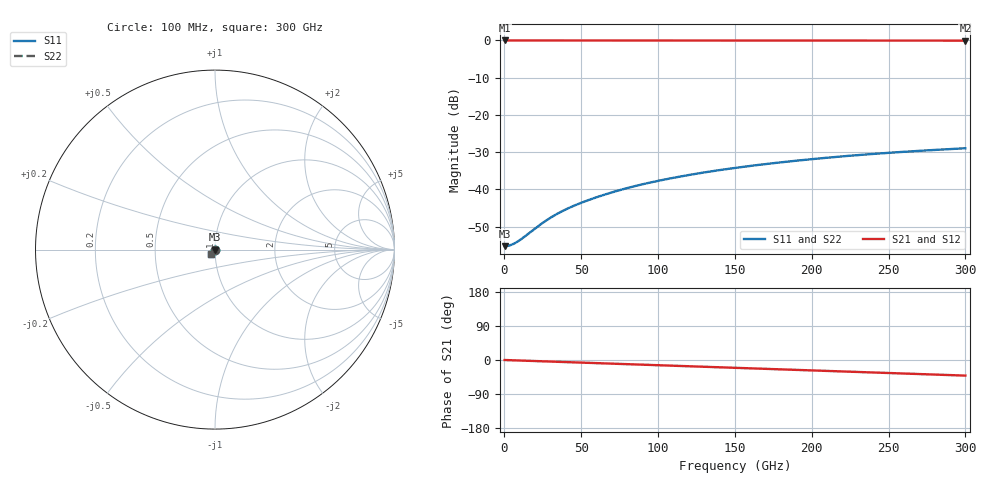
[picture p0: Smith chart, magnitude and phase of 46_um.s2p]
#  Hz  S  RI  R  50
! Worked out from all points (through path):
!   3000 points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, 100 MHz to 300 GHz, reference 50 ohm
!   highest |S21| = -0.01 dB at 100 MHz (marker M1); lowest = -0.1 dB at 300 GHz (marker M2)
!   group delay of S21, straight-line fit = 381 fs
!   lowest |S11| = -55.3 dB at 100 MHz (marker M3), VSWR 1.00, Z = 50.2 - j0.000846 ohm
!   |S11| at or under -10 dB: start of sweep to end of sweep
!   |S22| runs from -55.3 to -29.0 dB; largest |S21 - S12| = 7.1e-07
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1e8  0.00173 -8.43e-06  0.9983 -0.000246  0.9983 -0.000246  0.00173 -8.43e-06
1.9e9  0.00173 -0.000161  0.9983 -0.00467  0.9983 -0.00467  0.00173 -0.000161
3.6e9  0.00175 -0.000307  0.9982 -0.00884  0.9982 -0.00884  0.00175 -0.000307
7.3e9  0.00181 -0.000641  0.998 -0.0179  0.998 -0.0179  0.00181 -0.000641
1.17e10  0.00192 -0.00108  0.9976 -0.0286  0.9976 -0.0286  0.00192 -0.00108
2.39e10  0.00221 -0.00262  0.9958 -0.0577  0.9958 -0.0577  0.00221 -0.00262
3.06e10  0.00225 -0.00359  0.9947 -0.0736  0.9947 -0.0736  0.00225 -0.00359
3.5e10  0.00221 -0.00423  0.9938 -0.084  0.9938 -0.084  0.00221 -0.00423
3.96e10  0.00213 -0.00489  0.9928 -0.095  0.9928 -0.095  0.00213 -0.00489
4.46e10  0.00201 -0.0056  0.9915 -0.1068  0.9915 -0.1068  0.00201 -0.0056
5.01e10  0.00186 -0.00635  0.99 -0.1199  0.99 -0.1199  0.00186 -0.00635
6.14e10  0.0015 -0.00788  0.9861 -0.1466  0.9862 -0.1466  0.0015 -0.00788
7.38e10  0.00099 -0.00956  0.9812 -0.1757  0.9812 -0.1757  0.00099 -0.00956
8.64e10  0.000314 -0.0112  0.9753 -0.2051  0.9753 -0.2051  0.000314 -0.0112
1.001e11  -0.000578 -0.013  0.9679 -0.2369  0.9679 -0.2369  -0.000578 -0.013
1.242e11  -0.00247 -0.0159  0.9524 -0.2921  0.9524 -0.2921  -0.00247 -0.0159
1.501e11  -0.005 -0.0187  0.9322 -0.3504  0.9322 -0.3504  -0.005 -0.0187
1.744e11  -0.00772 -0.021  0.91 -0.4038  0.91 -0.4038  -0.00772 -0.021
2.001e11  -0.0109 -0.023  0.8831 -0.4589  0.8831 -0.4589  -0.0109 -0.023
2.253e11  -0.0143 -0.0244  0.8535 -0.5112  0.8535 -0.5112  -0.0143 -0.0244
2.501e11  -0.0178 -0.0253  0.8212 -0.5608  0.8212 -0.5608  -0.0178 -0.0253
3e11  -0.0247 -0.0257  0.7474 -0.6541  0.7474 -0.6541  -0.0247 -0.0257
